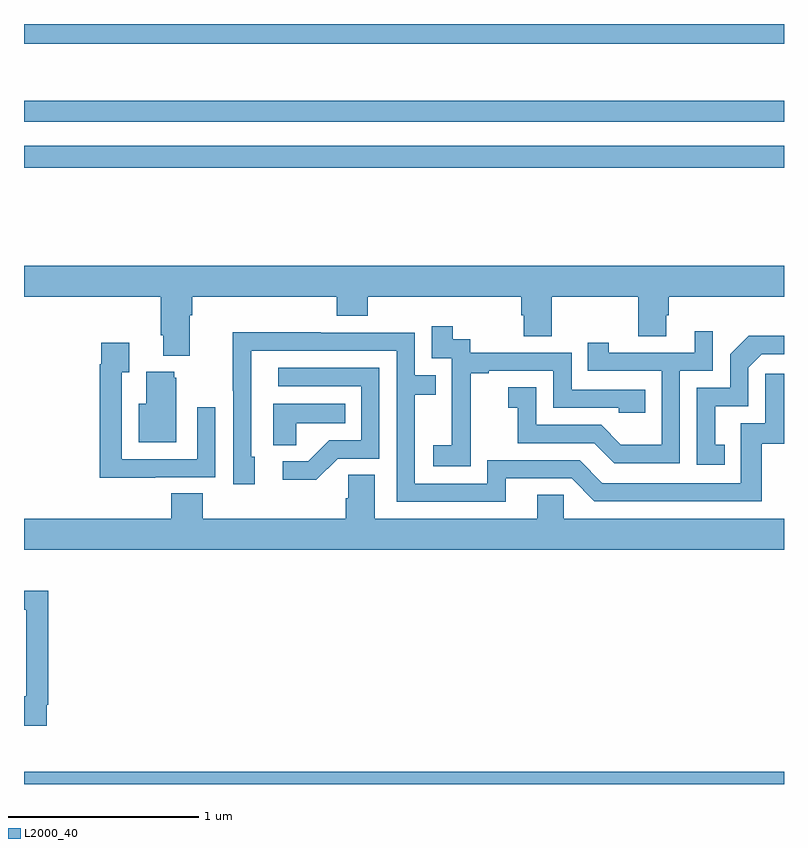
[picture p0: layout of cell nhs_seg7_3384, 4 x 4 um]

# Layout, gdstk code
import gdstk
lib = gdstk.Library(unit=1e-6, precision=1e-09)
def R(c, l, rs):  # rectangles x0, y0, x1, y1
    for r in rs: c.add(gdstk.rectangle(r[:2], r[2:], *l))
def P(c, l, *ps):  # polygons
    for p in ps: c.add(gdstk.Polygon(p, *l))
L2000_40 = (2000, 40)

nhs_seg7_3384 = lib.new_cell('nhs_seg7_3384')
R(nhs_seg7_3384, L2000_40, [(325,1050,329,1050.064), (325,1053.244,329,1053.36), (325,1053.486,329,1053.595), (325,1053.896,329,1054)])
P(nhs_seg7_3384, L2000_40, [(325.873,1052.468),(325.886,1052.468),(325.886,1052.564),(326.645,1052.564),(326.645,1052.465),(326.81,1052.465),(326.81,1052.564),(327.617,1052.564),(327.617,1052.466),(327.629,1052.466),(327.629,1052.356),(327.777,1052.356),(327.777,1052.564),(328.234,1052.564),(328.234,1052.356),(328.381,1052.356),(328.381,1052.466),(328.394,1052.466),(328.394,1052.564),(329,1052.564),(329,1052.728),(325,1052.728),(325,1052.564),(325.721,1052.564),(325.721,1052.362),(325.733,1052.362),(325.733,1052.255),(325.873,1052.255)],
  [(327.351,1051.879),(327.35,1051.879),(327.35,1052.163),(327.445,1052.163),(327.445,1052.175),(327.786,1052.175),(327.786,1051.98),(328.131,1051.98),(328.131,1051.953),(328.271,1051.953),(328.271,1052.076),(327.882,1052.076),(327.882,1052.271),(327.348,1052.271),(327.348,1052.34),(327.256,1052.34),(327.256,1052.41),(327.147,1052.41),(327.147,1052.241),(327.252,1052.241),(327.252,1052.012),(327.251,1052.012),(327.251,1051.783),(327.153,1051.783),(327.153,1051.673),(327.351,1051.673)],
  [(328.452,1052.175),(328.626,1052.175),(328.626,1052.383),(328.529,1052.383),(328.529,1052.271),(328.078,1052.271),(328.078,1052.323),(327.967,1052.323),(327.967,1052.175),(328.356,1052.175),(328.356,1051.786),(328.142,1051.786),(328.038,1051.89),(327.696,1051.89),(327.696,1052.089),(327.549,1052.089),(327.549,1051.979),(327.598,1051.979),(327.598,1051.794),(328.001,1051.794),(328.106,1051.689),(328.452,1051.689)],
  [(327.535,1051.608),(327.882,1051.608),(328.002,1051.488),(328.882,1051.488),(328.882,1051.791),(329,1051.791),(329,1052.158),(328.902,1052.158),(328.902,1051.899),(328.773,1051.899),(328.773,1051.584),(328.044,1051.584),(327.924,1051.704),(327.438,1051.704),(327.438,1051.581),(327.057,1051.581),(327.057,1052.05),(327.167,1052.05),(327.167,1052.151),(327.057,1052.151),(327.057,1052.376),(326.561,1052.376),(326.561,1052.378),(326.098,1052.378),(326.098,1052.071),(326.1,1052.071),(326.1,1051.578),(326.215,1051.578),(326.215,1051.722),(326.196,1051.722),(326.196,1052.28),(326.961,1052.28),(326.961,1051.485),(327.535,1051.485)],
  [(328.688,1051.785),(328.639,1051.785),(328.639,1051.989),(328.812,1051.989),(328.812,1052.19),(328.884,1052.262),(329,1052.262),(329,1052.36),(328.814,1052.36),(328.716,1052.262),(328.716,1052.085),(328.542,1052.085),(328.542,1051.68),(328.688,1051.68)],
  [(325.691,1051.614),(326.007,1051.614),(326.007,1051.984),(325.911,1051.984),(325.911,1051.71),(325.515,1051.71),(325.515,1052.167),(325.555,1052.167),(325.555,1052.323),(325.407,1052.323),(325.407,1052.21),(325.399,1052.21),(325.399,1051.613),(325.691,1051.613)],
  [(326.652,1051.713),(326.871,1051.713),(326.871,1052.19),(326.337,1052.19),(326.337,1052.094),(326.775,1052.094),(326.775,1051.809),(326.606,1051.809),(326.495,1051.698),(326.361,1051.698),(326.361,1051.601),(326.539,1051.601)],
  [(325.801,1052.139),(325.79,1052.139),(325.79,1052.17),(325.643,1052.17),(325.643,1052.002),(325.604,1052.002),(325.604,1051.799),(325.801,1051.799)],
  [(326.433,1051.898),(326.69,1051.898),(326.69,1052.002),(326.312,1052.002),(326.312,1051.783),(326.433,1051.783)],
  [(329,1051.396),(327.84,1051.396),(327.84,1051.523),(327.701,1051.523),(327.701,1051.396),(326.845,1051.396),(326.845,1051.628),(326.706,1051.628),(326.706,1051.505),(326.693,1051.505),(326.693,1051.396),(325.94,1051.396),(325.94,1051.529),(325.775,1051.529),(325.775,1051.396),(325,1051.396),(325,1051.232),(329,1051.232)],
  [(325.12,1050.418),(325.127,1050.418),(325.127,1051.016),(325,1051.016),(325,1050.918),(325.011,1050.918),(325.011,1050.462),(325,1050.462),(325,1050.306),(325.12,1050.306)])

lib.write_gds('nhs_seg7_3384.gds')
